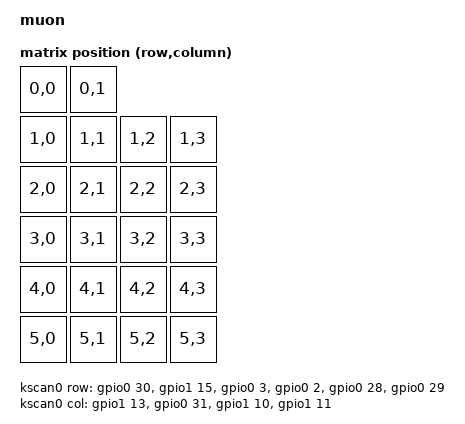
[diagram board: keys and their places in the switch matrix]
/*
 * Copyright (c) 2024 Brandon Beltran
 *
 * SPDX-License-Identifier: MIT
 */

/dts-v1/;

#include <nordic/nrf52840_qiaa.dtsi>
#include <dt-bindings/zmk/matrix_transform.h>

/ {
    model = "muon";

    chosen {
        zephyr,code-partition = &code_partition;
        zephyr,sram = &sram0;
        zephyr,flash = &flash0;
        zephyr,console = &cdc_acm_uart;
        zmk,kscan = &kscan0;
        zmk,matrix_transform = &default_transform;
        zmk,battery = &vbatt;
    };

    default_transform: keymap_transform_0 {
        compatible = "zmk,matrix-transform";
        columns = <4>;
        rows = <6>;
        map = <

        RC(0,0) RC(0,1)
        RC(1,0) RC(1,1) RC(1,2) RC(1,3)
        RC(2,0) RC(2,1) RC(2,2) RC(2,3)
        RC(3,0) RC(3,1) RC(3,2) RC(3,3)
        RC(4,0) RC(4,1) RC(4,2) RC(4,3)
        RC(5,0) RC(5,1) RC(5,2) RC(5,3)
        >;
    };

    kscan0: kscan {
        compatible = "zmk,kscan-gpio-matrix";

        diode-direction = "col2row";
        row-gpios
            = <&gpio0 30 (GPIO_ACTIVE_HIGH | GPIO_PULL_DOWN)>
            , <&gpio1 15 (GPIO_ACTIVE_HIGH | GPIO_PULL_DOWN)>
            , <&gpio0  3 (GPIO_ACTIVE_HIGH | GPIO_PULL_DOWN)>
            , <&gpio0  2 (GPIO_ACTIVE_HIGH | GPIO_PULL_DOWN)>
            , <&gpio0 28 (GPIO_ACTIVE_HIGH | GPIO_PULL_DOWN)>
            , <&gpio0 29 (GPIO_ACTIVE_HIGH | GPIO_PULL_DOWN)>
            ;
        col-gpios
            = <&gpio1 13 GPIO_ACTIVE_HIGH>
            , <&gpio0 31 GPIO_ACTIVE_HIGH>
            , <&gpio1 10 GPIO_ACTIVE_HIGH>
            , <&gpio1 11 GPIO_ACTIVE_HIGH>
            ;
    };

    vbatt: vbatt {
        compatible = "zmk,battery-voltage-divider";
        io-channels = <&adc 3>;
        output-ohms = <2000000>;
        full-ohms = <(2000000 + 806000)>;
    };
};

&adc {
    status = "okay";
};

&gpiote {
    status = "okay";
};

&gpio0 {
    status = "okay";
};

&gpio1 {
    status = "okay";
};

&usbd {
	compatible = "nordic,nrf-usbd";
    status = "okay";
    cdc_acm_uart: cdc_acm_uart {
        compatible = "zephyr,cdc-acm-uart";
    };
};

&flash0 {
	/*
	 * For more information, see:
	 * http://docs.zephyrproject.org/latest/devices/dts/flash_partitions.html
	 */
	partitions {
		compatible = "fixed-partitions";
		#address-cells = <1>;
		#size-cells = <1>;

		sd_partition: partition@0 {
			reg = <0x00000000 0x00026000>;
		};
		code_partition: partition@26000 {
			reg = <0x00026000 0x000c6000>;
		};

		/*
		 * The flash starting at 0x000ec000 and ending at
		 * 0x000f3fff is reserved for use by the application.
		 */

		/*
		 * Storage partition will be used by FCB/LittleFS/NVS
		 * if enabled.
		 */
		storage_partition: partition@ec000 {
			reg = <0x000ec000 0x00008000>;
		};

		boot_partition: partition@f4000 {
			reg = <0x000f4000 0x0000c000>;
		};
	};
};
